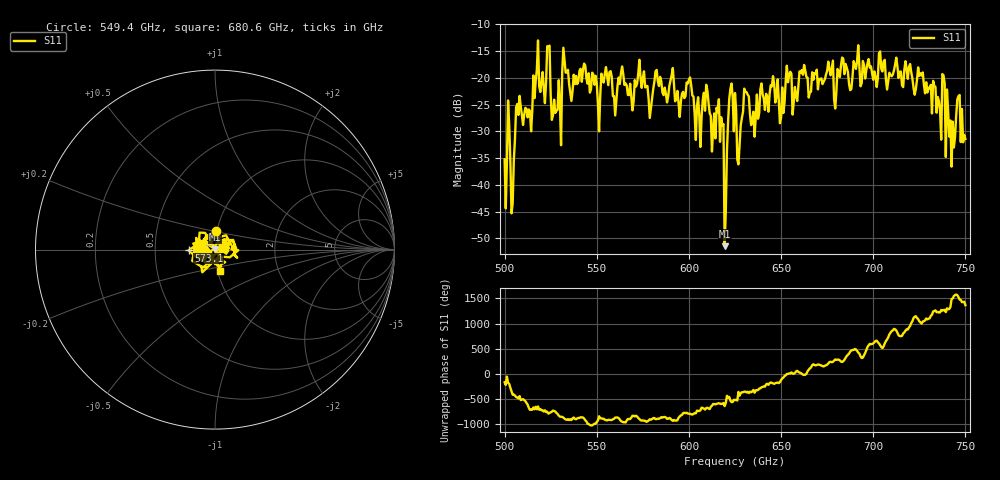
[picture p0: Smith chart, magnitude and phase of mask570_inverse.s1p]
!Created with skrf (http://scikit-rf.org).
# GHz S MA R 50.0
!freq magS11 angS11
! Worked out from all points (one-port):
!   401 points, 500 GHz to 750 GHz, reference 50 ohm
!   lowest |S11| = -51.5 dB at 619.4 GHz (marker M1), VSWR 1.01, Z = 50 + j0.264 ohm
!   |S11| at or under -10 dB: start of sweep to end of sweep
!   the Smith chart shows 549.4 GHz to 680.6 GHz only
!   S11 on the Smith chart (normalised r, x): 549.4 GHz: 0.99, +0.21; 573.1 GHz: 0.74, -0.01; 680.6 GHz: 1.03, -0.25
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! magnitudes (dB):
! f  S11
! 500 GHz  -35.2
! 504.4 GHz  -43.5
! 507.5 GHz  -26.9
! 513.8 GHz  -26.2
! 516.9 GHz  -20.5
! 523.8 GHz  -14.2
! 526.9 GHz  -24.1
! 531.2 GHz  -18.9
! 549.4 GHz  -19.6
! 562.5 GHz  -21.1
! 573.1 GHz  -16.6
! 593.8 GHz  -22.4
! 609.4 GHz  -21.3
! 617.5 GHz  -27.4
! 619.4 GHz  -51.5
! 620.6 GHz  -33.7
! 622.5 GHz  -22.1
! 625 GHz  -22.8
! 627.5 GHz  -32.4
! 631.2 GHz  -22.7
! 635 GHz  -26.3
! 656.2 GHz  -26.9
! 680.6 GHz  -18.3
! 687.5 GHz  -22.3
! 718.8 GHz  -20.2
! 742.5 GHz  -36.6
! 746.9 GHz  -23.2
! 750 GHz  -31.4
